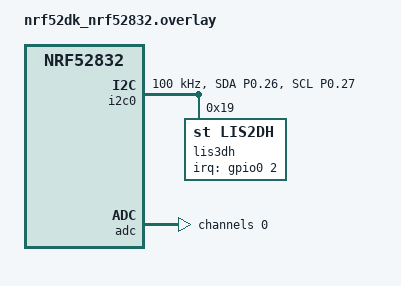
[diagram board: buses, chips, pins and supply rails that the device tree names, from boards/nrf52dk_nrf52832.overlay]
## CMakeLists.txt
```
# SPDX-License-Identifier: Apache-2.0

cmake_minimum_required(VERSION 3.20.0)
find_package(Zephyr REQUIRED HINTS $ENV{ZEPHYR_BASE})
project(rydful)

target_sources(app PRIVATE src/main.c)
```

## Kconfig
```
source "Kconfig.zephyr"

menu "Beacon Configuration"

config BEACON_DIAGNOSTICS
	bool "Enable beacon diagnostics"
	default n
	help
	  Enable LIS3DH diagnostic checks on startup.
	  This will verify the accelerometer is working correctly
	  by reading WHO_AM_I register and testing data fetch.

config BEACON_CALIBRATION
	bool "Enable motion calibration mode"
	default n
	help
	  Enable calibration logging to tune motion detection thresholds.
	  When enabled, logs delta_sq, variance, and magnitude values
	  for every sample. Use this to find optimal threshold values
	  for your specific motion patterns.

	  Steps to calibrate:
	  1. Enable this option and rebuild
	  2. Place device at rest - note values (noise floor)
	  3. Simulate motion - note values (motion signature)
	  4. Set MOTION_THRESHOLD_MS2_SQ between noise and motion
	  5. Set VARIANCE_THRESHOLD between noise and motion
	  6. Disable this option for production

endmenu
```

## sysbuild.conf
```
# Disable MCUboot for direct boot
SB_CONFIG_BOOTLOADER_MCUBOOT=n
```

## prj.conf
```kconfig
# GPIO for LED feedback
CONFIG_GPIO=y

# Clock control - external 32.768 kHz crystal
CONFIG_CLOCK_CONTROL=y
CONFIG_CLOCK_CONTROL_NRF_K32SRC_XTAL=y

# Logging - use deferred mode to avoid interrupt conflicts with BLE
CONFIG_LOG=y
CONFIG_USE_SEGGER_RTT=y
CONFIG_LOG_BACKEND_RTT=y
CONFIG_LOG_MODE_DEFERRED=y
CONFIG_LOG_BUFFER_SIZE=8192
CONFIG_LOG_PROCESS_THREAD_STACK_SIZE=2048
CONFIG_LOG_PROCESS_TRIGGER_THRESHOLD=10
CONFIG_PRINTK=y
CONFIG_CONSOLE=y

# Bluetooth
CONFIG_BT=y
CONFIG_BT_PERIPHERAL=y
CONFIG_BT_DEVICE_NAME="Rydful_Beacon"
CONFIG_BT_CTLR_TX_PWR_MINUS_12=y

# Reduce BT logging verbosity
CONFIG_BT_LOG_LEVEL_WRN=y
CONFIG_BT_HCI_CORE_LOG_LEVEL_WRN=y

# I2C for direct accelerometer access
CONFIG_I2C=y

# ADC for battery voltage measurement
CONFIG_ADC=y
```

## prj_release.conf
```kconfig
# Production configuration - logging disabled for minimum power

# GPIO for accelerometer interrupt
CONFIG_GPIO=y

# Clock control - external 32.768 kHz crystal
CONFIG_CLOCK_CONTROL=y
CONFIG_CLOCK_CONTROL_NRF_K32SRC_XTAL=y

# Disable logging for production
CONFIG_LOG=n
CONFIG_PRINTK=n
CONFIG_CONSOLE=n

# Bluetooth
CONFIG_BT=y
CONFIG_BT_PERIPHERAL=y
CONFIG_BT_DEVICE_NAME="Rydful_Beacon"
CONFIG_BT_CTLR_TX_PWR_MINUS_12=y

# I2C for accelerometer
CONFIG_I2C=y

# ADC for battery voltage measurement
CONFIG_ADC=y
```

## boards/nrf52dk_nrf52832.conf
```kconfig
# Board-specific configuration for nRF52 DK with LIS3DH
# This file is automatically picked up by the build system
```

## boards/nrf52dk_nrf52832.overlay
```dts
/*
 * Device tree overlay for nRF52 DK with LIS3DH accelerometer
 *
 * Wiring:
 *   SDA -> P0.26
 *   SCL -> P0.27
 *   CS  -> VDD (I2C mode)
 *   INT1 -> P0.02 (data-ready interrupt)
 *   AIN1 -> P0.03 (battery voltage)
 *
 * Wiring:
 *   Battery positive -> P0.03
 *   Battery negative -> GND
 *
 * Note: No voltage divider needed since max voltage (3.0V) is within ADC range (3.6V with 1/6 gain).
 */

#include <zephyr/dt-bindings/adc/nrf-saadc.h>

&pinctrl {
    i2c0_default_alt: i2c0_default_alt {
        group1 {
            psels = <NRF_PSEL(TWIM_SDA, 0, 26)>,
                    <NRF_PSEL(TWIM_SCL, 0, 27)>;
        };
    };

    i2c0_sleep_alt: i2c0_sleep_alt {
        group1 {
            psels = <NRF_PSEL(TWIM_SDA, 0, 26)>,
                    <NRF_PSEL(TWIM_SCL, 0, 27)>;
            low-power-enable;
        };
    };
};

&i2c0 {
    compatible = "nordic,nrf-twim";
    status = "okay";
    pinctrl-0 = <&i2c0_default_alt>;
    pinctrl-1 = <&i2c0_sleep_alt>;
    pinctrl-names = "default", "sleep";
    clock-frequency = <I2C_BITRATE_STANDARD>;

    lis3dh: lis3dh@19 {
        /* Use "st,lis2dh" not "st,lis3dh" - Zephyr's LIS2DH driver handles
         * both LIS2DH and LIS3DH chips but requires the lis2dh compatible. */
        compatible = "st,lis2dh";
        reg = <0x19>;
        /* INT1 for direct GPIO interrupt (bypasses broken Zephyr trigger API) */
        irq-gpios = <&gpio0 2 GPIO_ACTIVE_HIGH>;
        status = "okay";
    };
};

/* Enable GPIOTE for GPIO interrupts */
&gpiote {
    status = "okay";
};

/* Disable FICR to prevent conflicts with bootloader/softdevice */
&ficr {
    status = "disabled";
};

/*
 * ADC for battery voltage measurement
 *
 * Using AIN1 (P0.03) to measure 2x AA alkaline battery voltage directly.
 * No voltage divider needed since max voltage (3.0V) is within ADC range (3.6V with 1/6 gain).
 *
 * Wiring: Connect battery positive to P0.03
 */
&adc {
    status = "okay";
    #address-cells = <1>;
    #size-cells = <0>;

    channel@0 {
        reg = <0>;
        zephyr,gain = "ADC_GAIN_1_6";
        zephyr,reference = "ADC_REF_INTERNAL";
        zephyr,acquisition-time = <ADC_ACQ_TIME_DEFAULT>;
        zephyr,input-positive = <NRF_SAADC_AIN1>;  /* P0.03 */
        zephyr,resolution = <12>;
    };
};
```

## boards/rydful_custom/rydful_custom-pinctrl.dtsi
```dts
/*
 * SPDX-License-Identifier: Apache-2.0
 * Pin control for Rydful Custom PCB
 */

&pinctrl {
	/* I2C0 pins for LIS3DHTR */
	i2c0_default: i2c0_default {
		group1 {
			psels = <NRF_PSEL(TWIM_SDA, 0, 26)>,
			        <NRF_PSEL(TWIM_SCL, 0, 27)>;
		};
	};

	i2c0_sleep: i2c0_sleep {
		group1 {
			psels = <NRF_PSEL(TWIM_SDA, 0, 26)>,
			        <NRF_PSEL(TWIM_SCL, 0, 27)>;
			low-power-enable;
		};
	};
};
```

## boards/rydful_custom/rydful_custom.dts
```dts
/*
 * SPDX-License-Identifier: Apache-2.0
 *
 * Rydful Custom PCB - nRF52832 BLE Beacon (minimal test config)
 */

/dts-v1/;
#include <nordic/nrf52832_qfaa.dtsi>
#include <zephyr/dt-bindings/gpio/gpio.h>
#include <zephyr/dt-bindings/i2c/i2c.h>
#include <zephyr/dt-bindings/adc/nrf-saadc.h>
#include "rydful_custom-pinctrl.dtsi"

/ {
	model = "Rydful Custom Board";
	compatible = "rydful,custom";

	chosen {
		zephyr,sram = &sram0;
		zephyr,flash = &flash0;
	};
};

&flash0 {
	partitions {
		compatible = "fixed-partitions";
		#address-cells = <1>;
		#size-cells = <1>;

		/* Single application partition - no bootloader */
		storage_partition: partition@0 {
			label = "storage";
			reg = <0x00000000 0x00080000>;
		};
	};
};

&clock {
	status = "okay";
};

&gpiote {
	status = "okay";
};

&gpio0 {
	status = "okay";
	/* Use low-power SENSE for edge detection instead of GPIOTE (saves ~450µA) */
	sense-edge-mask = <0xffffffff>;
};

&i2c0 {
	compatible = "nordic,nrf-twim";
	status = "okay";
	pinctrl-0 = <&i2c0_default>;
	pinctrl-1 = <&i2c0_sleep>;
	pinctrl-names = "default", "sleep";
	clock-frequency = <I2C_BITRATE_STANDARD>;

	lis3dh: lis3dh@19 {
		compatible = "st,lis2dh";
		reg = <0x19>;
		irq-gpios = <&gpio0 2 GPIO_ACTIVE_HIGH>;
		status = "okay";
	};
};

/* UART disabled */
&uart0 {
	status = "disabled";
};

/* ADC for battery voltage measurement */
&adc {
	status = "okay";
	#address-cells = <1>;
	#size-cells = <0>;

	channel@0 {
		reg = <0>;
		zephyr,gain = "ADC_GAIN_1_6";
		zephyr,reference = "ADC_REF_INTERNAL";
		zephyr,acquisition-time = <ADC_ACQ_TIME_DEFAULT>;
		zephyr,input-positive = <NRF_SAADC_AIN1>;  /* P0.03 */
		zephyr,resolution = <12>;
	};
};
```

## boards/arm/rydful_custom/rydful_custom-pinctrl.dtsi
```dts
/*
 * SPDX-License-Identifier: Apache-2.0
 *
 * Pin control configuration for Rydful Custom PCB
 *
 * Adjust these pins to match your PCB layout!
 */

&pinctrl {
	/* I2C0 pins for LIS3DHTR */
	i2c0_default: i2c0_default {
		group1 {
			psels = <NRF_PSEL(TWIM_SDA, 0, 26)>,
			        <NRF_PSEL(TWIM_SCL, 0, 27)>;
		};
	};

	i2c0_sleep: i2c0_sleep {
		group1 {
			psels = <NRF_PSEL(TWIM_SDA, 0, 26)>,
			        <NRF_PSEL(TWIM_SCL, 0, 27)>;
			low-power-enable;
		};
	};

	/* UART0 pins (optional - for debug output) */
	uart0_default: uart0_default {
		group1 {
			psels = <NRF_PSEL(UART_TX, 0, 6)>;
		};
		group2 {
			psels = <NRF_PSEL(UART_RX, 0, 8)>;
			bias-pull-up;
		};
	};

	uart0_sleep: uart0_sleep {
		group1 {
			psels = <NRF_PSEL(UART_TX, 0, 6)>,
			        <NRF_PSEL(UART_RX, 0, 8)>;
			low-power-enable;
		};
	};
};
```

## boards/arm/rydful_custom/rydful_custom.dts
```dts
/*
 * SPDX-License-Identifier: Apache-2.0
 *
 * Rydful Custom PCB - nRF52832 with LIS3DHTR accelerometer
 */

/dts-v1/;
#include <nordic/nrf52832_qfaa.dtsi>
#include "rydful_custom-pinctrl.dtsi"

/ {
	model = "Rydful Custom Board";
	compatible = "rydful,custom";

	chosen {
		zephyr,console = &uart0;
		zephyr,shell-uart = &uart0;
		zephyr,uart-mcumgr = &uart0;
		zephyr,bt-mon-uart = &uart0;
		zephyr,bt-c2h-uart = &uart0;
		zephyr,sram = &sram0;
		zephyr,flash = &flash0;
		zephyr,code-partition = &slot0_partition;
	};

	aliases {
		watchdog0 = &wdt0;
	};
};

&flash0 {
	partitions {
		compatible = "fixed-partitions";
		#address-cells = <1>;
		#size-cells = <1>;

		/* Bootloader (optional, 48KB) */
		boot_partition: partition@0 {
			label = "mcuboot";
			reg = <0x00000000 0x0000C000>;
		};

		/* Application slot 0 (200KB) */
		slot0_partition: partition@c000 {
			label = "image-0";
			reg = <0x0000C000 0x00032000>;
		};

		/* Application slot 1 for OTA (200KB) */
		slot1_partition: partition@3e000 {
			label = "image-1";
			reg = <0x0003E000 0x00032000>;
		};

		/* Scratch partition for swap (16KB) */
		scratch_partition: partition@70000 {
			label = "image-scratch";
			reg = <0x00070000 0x00004000>;
		};

		/* Storage partition (56KB) */
		storage_partition: partition@74000 {
			label = "storage";
			reg = <0x00074000 0x0000C000>;
		};
	};
};

&adc {
	status = "okay";
};

&gpiote {
	status = "okay";
};

&gpio0 {
	status = "okay";
};

/* I2C0 for LIS3DHTR accelerometer */
&i2c0 {
	compatible = "nordic,nrf-twi";
	status = "okay";
	pinctrl-0 = <&i2c0_default>;
	pinctrl-1 = <&i2c0_sleep>;
	pinctrl-names = "default", "sleep";

	lis3dh: lis3dh@19 {
		compatible = "st,lis2dh";
		reg = <0x19>;
		irq-gpios = <&gpio0 2 GPIO_ACTIVE_HIGH>;
		status = "okay";
	};
};

/* UART0 for debugging (directly on pins, no USB) */
&uart0 {
	compatible = "nordic,nrf-uarte";
	status = "okay";
	current-speed = <115200>;
	pinctrl-0 = <&uart0_default>;
	pinctrl-1 = <&uart0_sleep>;
	pinctrl-names = "default", "sleep";
};
```

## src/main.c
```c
/*
 * BLE Beacon - Hardware Interrupt-Driven Motion Detection
 *
 * Uses LIS3DH accelerometer's internal motion detection engine to wake the MCU
 * only when actual motion occurs, achieving ultra-low power consumption (~2.5 µA sleep).
 *
 * The LIS3DH operates at 1Hz in low-power mode with high-pass filtering to remove
 * gravity, triggering an interrupt only on acceleration *changes* above threshold.
 */

#include <zephyr/kernel.h>
#include <zephyr/bluetooth/bluetooth.h>
#include <zephyr/device.h>
#include <zephyr/drivers/gpio.h>
#include <zephyr/drivers/i2c.h>
#include <zephyr/drivers/adc.h>
#include <zephyr/logging/log.h>
#include <hal/nrf_saadc.h>

LOG_MODULE_REGISTER(beacon, LOG_LEVEL_INF);

/*
 * Configuration Parameters
 */

/* Motion detection threshold in mg */
#define HW_MOTION_THRESHOLD_MG    32

/* Number of samples above threshold before triggering */
#define HW_MOTION_DURATION        2

/* Seconds of no motion before stopping advertising (3 full duty cycles) */
#define NO_MOTION_TIMEOUT_SEC     36

/* Advertising duty cycle: advertise for 5s, pause for 7s */
#define ADV_DUTY_ON_SEC           5
#define ADV_DUTY_OFF_SEC          7

/* Battery monitoring configuration */
#define BATTERY_LOW_THRESHOLD_MV  2000  /* 0% battery level */
#define BATTERY_FULL_MV           3000  /* 100% battery level */
#define BATTERY_UPDATE_INTERVAL_SEC 300 /* Update every 5 minutes */

/* ADC configuration for battery voltage measurement */
#define ADC_NODE                  DT_NODELABEL(adc)
#define ADC_CHANNEL_ID            0
#define ADC_RESOLUTION_BITS       12
#define ADC_GAIN                  ADC_GAIN_1_6
#define ADC_REFERENCE             ADC_REF_INTERNAL
#define ADC_REF_MV                600  /* Internal reference is 0.6V */
#define ADC_RESOLUTION            ((1 << ADC_RESOLUTION_BITS) - 1)  /* 4095 for 12-bit */

/*
 * LIS2DH/LIS3DH Register Definitions
 * (Using direct I2C access for reliable interrupt configuration)
 */

/* Control registers */
#define LIS2DH_REG_CTRL_REG1      0x20
#define LIS2DH_REG_CTRL_REG2      0x21
#define LIS2DH_REG_CTRL_REG3      0x22
#define LIS2DH_REG_CTRL_REG4      0x23
#define LIS2DH_REG_CTRL_REG5      0x24
#define LIS2DH_REG_CTRL_REG6      0x25
#define LIS2DH_REG_REFERENCE      0x26

/* Interrupt configuration registers */
#define LIS2DH_REG_INT1_CFG       0x30
#define LIS2DH_REG_INT1_SRC       0x31
#define LIS2DH_REG_INT1_THS       0x32
#define LIS2DH_REG_INT1_DURATION  0x33

/* Identification */
#define LIS2DH_REG_WHO_AM_I       0x0F
#define LIS2DH_WHO_AM_I_VALUE     0x33

/* CTRL_REG1 bits */
#define LIS2DH_ODR_1HZ            (0x01 << 4)  /* 1Hz output data rate */
#define LIS2DH_LPEN               BIT(3)       /* Low-power mode enable */
#define LIS2DH_XYZ_EN             0x07         /* Enable X, Y, Z axes */

/* CTRL_REG2 bits */
#define LIS2DH_HP_IA1             BIT(0)       /* HP filter for interrupt 1 */
#define LIS2DH_HPCF_LOWEST        (0x03 << 4)  /* Lowest HP cutoff frequency */

/* CTRL_REG3 bits */
#define LIS2DH_I1_AOI1            BIT(6)       /* AOI1 interrupt on INT1 */

/* INT1_CFG bits - motion detection on any axis */
#define LIS2DH_INT1_XHIE          BIT(1)       /* X high event enable */
#define LIS2DH_INT1_YHIE          BIT(3)       /* Y high event enable */
#define LIS2DH_INT1_ZHIE          BIT(5)       /* Z high event enable */

/*
 * Device handles
 */

/* I2C device for direct register access */
static const struct device *i2c_dev;
#define LIS3DH_I2C_ADDR           0x19

/* GPIO for INT1 interrupt - P0.02 */
static const struct gpio_dt_spec int1_gpio = {
	.port = DEVICE_DT_GET(DT_NODELABEL(gpio0)),
	.pin = 2,
	.dt_flags = GPIO_ACTIVE_HIGH
};

/* Semaphore for interrupt signaling */
K_SEM_DEFINE(motion_sem, 0, 1);

/* GPIO callback data */
static struct gpio_callback int1_cb_data;

/*
 * Battery Monitoring
 */

/* ADC device */
static const struct device *adc_dev;
static bool adc_available = false;

/* Battery state */
static struct {
	uint16_t voltage_mv;
	uint8_t percentage;
	bool is_low;
	int64_t last_update_time;
} battery = {
	.voltage_mv = 3000,
	.percentage = 100,
	.is_low = false,
	.last_update_time = 0
};

/*
 * BLE Advertising Configuration
 */

/* Manufacturer data: [Company ID (2 bytes), Battery %, Low battery flag, Voltage (2 bytes LE)] */
static uint8_t mfg_data[] = {
	0xFF, 0xFF,  /* Company ID (0xFFFF = test/internal use) */
	100,         /* Battery percentage (0-100) */
	0x00,        /* Low battery flag (0x00 = OK, 0x01 = LOW) */
	0xB8, 0x0B   /* Voltage in mV, little-endian (0x0BB8 = 3000 mV) */
};

static const struct bt_data ad[] = {
	BT_DATA_BYTES(BT_DATA_FLAGS, (BT_LE_AD_GENERAL | BT_LE_AD_NO_BREDR)),
	BT_DATA_BYTES(BT_DATA_UUID16_ALL, 0xAA, 0xFE),
	BT_DATA(BT_DATA_MANUFACTURER_DATA, mfg_data, sizeof(mfg_data)),
};

static const struct bt_data sd[] = {
	BT_DATA(BT_DATA_NAME_COMPLETE, CONFIG_BT_DEVICE_NAME,
		sizeof(CONFIG_BT_DEVICE_NAME) - 1),
};

/* Connectable, scannable advertising for Android CDM compatibility */
static struct bt_le_adv_param adv_params = BT_LE_ADV_PARAM_INIT(
	BT_LE_ADV_OPT_CONN | BT_LE_ADV_OPT_SCANNABLE,
	0x0190,  /* 250ms min (400 * 0.625ms) */
	0x0280,  /* 400ms max (640 * 0.625ms) */
	NULL
);

/* Application state */
static struct {
	bool is_advertising;
	bool is_active;          /* true when in active mode (motion detected) */
	int64_t last_motion_time;
	int64_t duty_cycle_start; /* timestamp of current duty cycle phase start */
	bool duty_on;            /* true = advertising phase, false = pause phase */
} app_state;

/*
 * I2C Helper Functions
 */

static int lis3dh_read_reg(uint8_t reg, uint8_t *val)
{
	return i2c_write_read(i2c_dev, LIS3DH_I2C_ADDR, &reg, 1, val, 1);
}

static int lis3dh_write_reg(uint8_t reg, uint8_t val)
{
	uint8_t buf[2] = {reg, val};
	return i2c_write(i2c_dev, buf, 2, LIS3DH_I2C_ADDR);
}

/*
 * Battery Monitoring Functions
 */

/**
 * Initialize ADC for battery voltage measurement
 */
static int init_battery_adc(void)
{
	int err;

	adc_dev = DEVICE_DT_GET(ADC_NODE);
	if (!device_is_ready(adc_dev)) {
		LOG_ERR("ADC device not ready");
		return -ENODEV;
	}

	/* Configure ADC channel */
	struct adc_channel_cfg channel_cfg = {
		.gain = ADC_GAIN,
		.reference = ADC_REFERENCE,
		.acquisition_time = ADC_ACQ_TIME(ADC_ACQ_TIME_MICROSECONDS, 40),
		.channel_id = ADC_CHANNEL_ID,
		.input_positive = NRF_SAADC_INPUT_AIN1,  /* P0.03 */
		.input_negative = NRF_SAADC_INPUT_DISABLED,  /* Internal GND for single-ended */
	};

	err = adc_channel_setup(adc_dev, &channel_cfg);
	if (err) {
		LOG_ERR("ADC channel setup failed: %d", err);
		return err;
	}

	adc_available = true;
	LOG_INF("Battery ADC initialized (AIN1/P0.03, gain=1/6, ref=0.6V)");
	return 0;
}

/**
 * Read battery voltage using direct HAL access (bypasses Zephyr driver)
 * Returns voltage in millivolts (mV)
 */
static uint16_t read_battery_voltage_hal(void)
{
	static volatile int16_t hal_buffer;

	/* Disable SAADC while configuring */
	nrf_saadc_disable(NRF_SAADC);

	/* Configure channel 0: AIN1, gain 1/6, ref internal, single-ended */
	nrf_saadc_channel_config_t ch_cfg = {
		.resistor_p = NRF_SAADC_RESISTOR_DISABLED,
		.resistor_n = NRF_SAADC_RESISTOR_DISABLED,
		.gain       = NRF_SAADC_GAIN1_6,
		.reference  = NRF_SAADC_REFERENCE_INTERNAL,
		.acq_time   = NRF_SAADC_ACQTIME_40US,
		.mode       = NRF_SAADC_MODE_SINGLE_ENDED,
		.burst      = NRF_SAADC_BURST_DISABLED,
	};
	nrf_saadc_channel_init(NRF_SAADC, 0, &ch_cfg);
	nrf_saadc_channel_input_set(NRF_SAADC, 0, NRF_SAADC_INPUT_AIN1, NRF_SAADC_INPUT_DISABLED);

	/* Set resolution to 12-bit */
	nrf_saadc_resolution_set(NRF_SAADC, NRF_SAADC_RESOLUTION_12BIT);

	/* Configure result buffer */
	nrf_saadc_buffer_init(NRF_SAADC, (nrf_saadc_value_t *)&hal_buffer, 1);

	/* Enable and start */
	nrf_saadc_enable(NRF_SAADC);

	/* Clear events */
	nrf_saadc_event_clear(NRF_SAADC, NRF_SAADC_EVENT_STARTED);
	nrf_saadc_event_clear(NRF_SAADC, NRF_SAADC_EVENT_END);

	/* Start and wait */
	nrf_saadc_task_trigger(NRF_SAADC, NRF_SAADC_TASK_START);
	while (!nrf_saadc_event_check(NRF_SAADC, NRF_SAADC_EVENT_STARTED)) {}

	/* Trigger sample and wait for conversion */
	nrf_saadc_task_trigger(NRF_SAADC, NRF_SAADC_TASK_SAMPLE);
	while (!nrf_saadc_event_check(NRF_SAADC, NRF_SAADC_EVENT_END)) {}

	/* Stop SAADC */
	nrf_saadc_task_trigger(NRF_SAADC, NRF_SAADC_TASK_STOP);
	nrf_saadc_disable(NRF_SAADC);

	/* Convert to millivolts: (raw * 600mV * 6) / 4096 */
	int32_t voltage_mv = ((int32_t)hal_buffer * 600 * 6) / 4096;

	LOG_INF("[HAL] Raw ADC: %d, Voltage: %d mV", hal_buffer, voltage_mv);

	return (uint16_t)(voltage_mv > 0 ? voltage_mv : 0);
}

/**
 * Read battery voltage from ADC
 * Returns voltage in millivolts (mV)
 */
static uint16_t read_battery_voltage(void)
{
	/* Use direct HAL access for reliable single-ended measurement */
	return read_battery_voltage_hal();
}

/**
 * Convert battery voltage to percentage (0-100%)
 * Uses linear interpolation between LOW and FULL thresholds
 */
static uint8_t voltage_to_percentage(uint16_t voltage_mv)
{
	if (voltage_mv <= BATTERY_LOW_THRESHOLD_MV) {
		return 0;
	}
	if (voltage_mv >= BATTERY_FULL_MV) {
		return 100;
	}

	uint32_t range = BATTERY_FULL_MV - BATTERY_LOW_THRESHOLD_MV;
	uint32_t offset = voltage_mv - BATTERY_LOW_THRESHOLD_MV;
	return (uint8_t)((offset * 100) / range);
}

/**
 * Update battery status and BLE manufacturer data
 */
static void update_battery_status(void)
{
	battery.voltage_mv = read_battery_voltage();
	battery.percentage = voltage_to_percentage(battery.voltage_mv);
	battery.is_low = (battery.voltage_mv <= BATTERY_LOW_THRESHOLD_MV);
	battery.last_update_time = k_uptime_get();

	/* Update manufacturer data */
	mfg_data[2] = battery.percentage;
	mfg_data[3] = battery.is_low ? 0x01 : 0x00;
	/* Voltage in little-endian (low byte first) */
	mfg_data[4] = (uint8_t)(battery.voltage_mv & 0xFF);
	mfg_data[5] = (uint8_t)((battery.voltage_mv >> 8) & 0xFF);

	LOG_INF("[BATT] Voltage: %d mV, Percentage: %d%% %s",
		battery.voltage_mv, battery.percentage,
		battery.is_low ? "(LOW!)" : "(OK)");

	/* Update advertising data if currently advertising */
	if (app_state.is_advertising) {
		int err = bt_le_adv_update_data(ad, ARRAY_SIZE(ad), sd, ARRAY_SIZE(sd));
		if (err) {
			LOG_ERR("Failed to update advertising data: %d", err);
		}
	}
}

/*
 * GPIO Interrupt Callback
 *
 * Called when LIS3DH INT1 pin goes high (motion detected).
 * Wakes main thread from sleep via semaphore.
 */
static void int1_callback(const struct device *dev, struct gpio_callback *cb,
			  uint32_t pins)
{
	ARG_UNUSED(cb);
	ARG_UNUSED(pins);

	/* Disable interrupt to prevent re-triggering while pin is high */
	gpio_pin_interrupt_configure(dev, int1_gpio.pin, GPIO_INT_DISABLE);

	k_sem_give(&motion_sem);
}

/*
 * Configure LIS3DH for Hardware Motion Detection
 *
 * Sets up the accelerometer's internal motion detection engine:
 * - 1Hz ODR in low-power mode (~2µA)
 * - High-pass filter removes gravity, detects only acceleration changes
 * - Threshold interrupt on any axis exceeding configured mg value
 */
static int configure_hardware_motion(void)
{
	int err;
	uint8_t val;

	/* Verify WHO_AM_I */
	err = lis3dh_read_reg(LIS2DH_REG_WHO_AM_I, &val);
	if (err) {
		LOG_ERR("Failed to read WHO_AM_I: %d", err);
		return err;
	}
	if (val != LIS2DH_WHO_AM_I_VALUE) {
		LOG_ERR("Unexpected WHO_AM_I: 0x%02X (expected 0x%02X)",
			val, LIS2DH_WHO_AM_I_VALUE);
		return -ENODEV;
	}
	LOG_INF("LIS3DH detected (WHO_AM_I: 0x%02X)", val);

	/*
	 * CTRL_REG1: 1Hz ODR, low-power mode, all axes enabled
	 * - Lowest power consumption while still detecting motion
	 * - ~1 second wake latency (acceptable for presence detection)
	 */
	err = lis3dh_write_reg(LIS2DH_REG_CTRL_REG1,
			       LIS2DH_ODR_1HZ | LIS2DH_LPEN | LIS2DH_XYZ_EN);
	if (err) {
		LOG_ERR("Failed to configure CTRL_REG1: %d", err);
		return err;
	}

	/*
	 * CTRL_REG2: High-pass filter for interrupt 1
	 * - Removes DC gravity component
	 * - Only acceleration CHANGES trigger the interrupt
	 * - Lowest cutoff frequency for best motion detection
	 */
	err = lis3dh_write_reg(LIS2DH_REG_CTRL_REG2,
			       LIS2DH_HPCF_LOWEST | LIS2DH_HP_IA1);
	if (err) {
		LOG_ERR("Failed to configure CTRL_REG2: %d", err);
		return err;
	}

	/*
	 * CTRL_REG3: Route AOI1 (motion) interrupt to INT1 pin
	 */
	err = lis3dh_write_reg(LIS2DH_REG_CTRL_REG3, LIS2DH_I1_AOI1);
	if (err) {
		LOG_ERR("Failed to configure CTRL_REG3: %d", err);
		return err;
	}

	/*
	 * CTRL_REG4: Default (2g range, normal resolution)
	 * - 2g range provides 16mg/LSB for threshold calculation
	 */
	err = lis3dh_write_reg(LIS2DH_REG_CTRL_REG4, 0x00);
	if (err) {
		LOG_ERR("Failed to configure CTRL_REG4: %d", err);
		return err;
	}

	/*
	 * CTRL_REG5: Latch interrupt (INT1 stays high until INT1_SRC is read)
	 */
	err = lis3dh_write_reg(LIS2DH_REG_CTRL_REG5, BIT(3));  /* LIR_INT1 */
	if (err) {
		LOG_ERR("Failed to configure CTRL_REG5: %d", err);
		return err;
	}

	/*
	 * INT1_THS: Motion threshold
	 * - At 2g range: 1 LSB = 16mg
	 * - 32mg threshold = 2 LSBs
	 */
	uint8_t threshold_lsb = HW_MOTION_THRESHOLD_MG / 16;
	if (threshold_lsb < 1) {
		threshold_lsb = 1;
	}
	err = lis3dh_write_reg(LIS2DH_REG_INT1_THS, threshold_lsb);
	if (err) {
		LOG_ERR("Failed to configure INT1_THS: %d", err);
		return err;
	}

	/*
	 * INT1_DURATION: Samples above threshold before interrupt
	 * - 1 = immediate trigger (single sample above threshold)
	 */
	err = lis3dh_write_reg(LIS2DH_REG_INT1_DURATION, HW_MOTION_DURATION);
	if (err) {
		LOG_ERR("Failed to configure INT1_DURATION: %d", err);
		return err;
	}

	/*
	 * Read REFERENCE register to reset high-pass filter
	 * - Sets current position as "zero" reference
	 */
	err = lis3dh_read_reg(LIS2DH_REG_REFERENCE, &val);
	if (err) {
		LOG_ERR("Failed to read REFERENCE: %d", err);
		return err;
	}

	/*
	 * INT1_CFG: Enable high-event interrupt on all axes (OR combination)
	 * - Any axis exceeding threshold triggers interrupt
	 */
	err = lis3dh_write_reg(LIS2DH_REG_INT1_CFG,
			       LIS2DH_INT1_XHIE | LIS2DH_INT1_YHIE | LIS2DH_INT1_ZHIE);
	if (err) {
		LOG_ERR("Failed to configure INT1_CFG: %d", err);
		return err;
	}

	/*
	 * Clear any pending interrupts by reading INT1_SRC
	 */
	lis3dh_read_reg(LIS2DH_REG_INT1_SRC, &val);

	LOG_INF("HW motion OK: threshold=%dmg duration=%d ODR=1Hz",
		HW_MOTION_THRESHOLD_MG, HW_MOTION_DURATION);

	return 0;
}

/*
 * Clear Pending Motion Interrupt
 *
 * Reads INT1_SRC to clear the latched interrupt.
 */
static void clear_motion_interrupt(void)
{
	uint8_t val;
	lis3dh_read_reg(LIS2DH_REG_INT1_SRC, &val);
}

/*
 * Configure GPIO Interrupt for INT1 Pin
 */
static int configure_gpio_interrupt(void)
{
	int err;

	if (!gpio_is_ready_dt(&int1_gpio)) {
		LOG_ERR("INT1 GPIO not ready");
		return -ENODEV;
	}

	/* Configure as input */
	err = gpio_pin_configure_dt(&int1_gpio, GPIO_INPUT);
	if (err) {
		LOG_ERR("Failed to configure INT1 GPIO: %d", err);
		return err;
	}

	/* Setup callback */
	gpio_init_callback(&int1_cb_data, int1_callback, BIT(int1_gpio.pin));
	err = gpio_add_callback(int1_gpio.port, &int1_cb_data);
	if (err) {
		LOG_ERR("Failed to add INT1 callback: %d", err);
		return err;
	}

	/* Clear any pending LIS3DH interrupt before enabling GPIO interrupt */
	clear_motion_interrupt();
	k_msleep(10);
	clear_motion_interrupt();

	/* Enable rising edge interrupt (uses low-power SENSE via sense-edge-mask in DTS) */
	err = gpio_pin_interrupt_configure_dt(&int1_gpio, GPIO_INT_EDGE_TO_ACTIVE);
	if (err) {
		LOG_ERR("Failed to configure INT1 interrupt: %d", err);
		return err;
	}

	LOG_INF("GPIO interrupt configured on pin %d", int1_gpio.pin);
	return 0;
}

/*
 * BLE Advertising Control
 */

static int start_advertising(void)
{
	if (app_state.is_advertising) {
		return 0;
	}

	int err = bt_le_adv_start(&adv_params, ad, ARRAY_SIZE(ad), sd, ARRAY_SIZE(sd));
	if (err && err != -EALREADY) {
		LOG_ERR("Failed to start advertising: %d", err);
		return err;
	}

	app_state.is_advertising = true;
	LOG_INF(">>> BLE advertising STARTED (motion detected)");
	return 0;
}

static int stop_advertising(void)
{
	if (!app_state.is_advertising) {
		return 0;
	}

	int err = bt_le_adv_stop();
	if (err && err != -EALREADY) {
		LOG_ERR("Failed to stop advertising: %d", err);
		return err;
	}

	app_state.is_advertising = false;
	LOG_INF("<<< BLE advertising STOPPED (no motion timeout)");
	return 0;
}

/*
 * Enter active mode: start advertising and begin duty cycle
 */
static void enter_active_mode(void)
{
	app_state.is_active = true;
	app_state.duty_on = true;
	app_state.duty_cycle_start = k_uptime_get();
	start_advertising();
}

/*
 * Leave active mode: stop advertising and clear state
 */
static void leave_active_mode(void)
{
	stop_advertising();
	app_state.is_active = false;
	app_state.duty_on = false;
}

/*
 * Main Application Loop
 *
 * State machine:
 * - SLEEP: MCU sleeps indefinitely waiting for motion interrupt
 * - ACTIVE: BLE advertising with duty cycle (7s on / 14s off),
 *           check for no-motion timeout, process new motion events
 */
static void run_main_loop(void)
{
	while (1) {
		if (app_state.is_active) {
			/*
			 * ACTIVE MODE: Duty-cycled advertising
			 * Advertise for ADV_DUTY_ON_SEC, then pause for ADV_DUTY_OFF_SEC.
			 * Continue until NO_MOTION_TIMEOUT_SEC of inactivity.
			 */

			/* Wait for motion interrupt with 500ms timeout for periodic checks */
			int sem_ret = k_sem_take(&motion_sem, K_MSEC(500));
			int64_t now = k_uptime_get();

			if (sem_ret == 0) {
				/* Motion detected - reset no-motion timeout */
				app_state.last_motion_time = now;
				clear_motion_interrupt();
				LOG_DBG("Motion interrupt");
			}

			/* Re-enable GPIO interrupt */
			gpio_pin_interrupt_configure_dt(&int1_gpio, GPIO_INT_EDGE_TO_ACTIVE);

			/* Check for battery update interval (every 5 minutes) */
			int64_t battery_elapsed_sec = (now - battery.last_update_time) / 1000;
			if (battery_elapsed_sec >= BATTERY_UPDATE_INTERVAL_SEC) {
				update_battery_status();
			}

			/* Check for no-motion timeout */
			int64_t elapsed_sec = (now - app_state.last_motion_time) / 1000;
			if (elapsed_sec >= NO_MOTION_TIMEOUT_SEC) {
				leave_active_mode();
				continue;
			}

			/* Manage advertising duty cycle */
			int64_t duty_elapsed_sec = (now - app_state.duty_cycle_start) / 1000;

			if (app_state.duty_on && duty_elapsed_sec >= ADV_DUTY_ON_SEC) {
				/* ON phase expired -> switch to OFF */
				stop_advertising();
				app_state.duty_on = false;
				app_state.duty_cycle_start = now;
				LOG_INF("Duty cycle: advertising OFF for %ds", ADV_DUTY_OFF_SEC);
			} else if (!app_state.duty_on && duty_elapsed_sec >= ADV_DUTY_OFF_SEC) {
				/* OFF phase expired -> switch to ON */
				start_advertising();
				app_state.duty_on = true;
				app_state.duty_cycle_start = now;
				LOG_INF("Duty cycle: advertising ON for %ds", ADV_DUTY_ON_SEC);
			}
		} else {
			/*
			 * SLEEP MODE: Ultra-low power, waiting for motion
			 */
			LOG_INF("Entering sleep (waiting for motion)...");

			/* Clear semaphore and any pending interrupts */
			k_sem_reset(&motion_sem);
			clear_motion_interrupt();

			/* Re-enable GPIO interrupt */
			gpio_pin_interrupt_configure_dt(&int1_gpio, GPIO_INT_EDGE_TO_ACTIVE);

			/* Check if INT1 is already high (motion during setup) */
			if (gpio_pin_get_dt(&int1_gpio)) {
				LOG_INF("INT1 already high - motion pending");
				clear_motion_interrupt();
				app_state.last_motion_time = k_uptime_get();
				enter_active_mode();
				continue;
			}

			/* Wait indefinitely for motion interrupt */
			k_sem_take(&motion_sem, K_FOREVER);

			/* Motion detected - wake up and start advertising */
			LOG_INF("Motion detected - waking up!");
			app_state.last_motion_time = k_uptime_get();
			clear_motion_interrupt();
			enter_active_mode();
		}
	}
}

int main(void)
{
	int err;

	/* Brief delay for hardware stabilization */
	k_msleep(100);

	LOG_INF("BLE Beacon | %s | thresh=%dmg timeout=%ds duty=%ds/%ds",
		CONFIG_BT_DEVICE_NAME, HW_MOTION_THRESHOLD_MG, NO_MOTION_TIMEOUT_SEC,
		ADV_DUTY_ON_SEC, ADV_DUTY_OFF_SEC);

	/* Get I2C device */
	i2c_dev = DEVICE_DT_GET(DT_NODELABEL(i2c0));
	if (!device_is_ready(i2c_dev)) {
		LOG_ERR("I2C device not ready");
		return -ENODEV;
	}

	/* Configure LIS3DH for hardware motion detection */
	LOG_INF("Configuring LIS3DH...");
	err = configure_hardware_motion();
	if (err) {
		LOG_ERR("Failed to configure hardware motion detection: %d", err);
		return err;
	}

	/* Configure GPIO interrupt */
	err = configure_gpio_interrupt();
	if (err) {
		LOG_ERR("Failed to configure GPIO interrupt: %d", err);
		return err;
	}

	/* Initialize battery monitoring */
	LOG_INF("Initializing battery ADC...");
	err = init_battery_adc();
	if (err) {
		LOG_WRN("Battery ADC init failed: %d (continuing without battery monitoring)", err);
	} else {
		/* Perform initial battery reading */
		update_battery_status();
	}

	/* Initialize Bluetooth */
	LOG_INF("Initializing Bluetooth...");
	err = bt_enable(NULL);
	if (err) {
		LOG_ERR("Bluetooth init failed: %d", err);
		return err;
	}
	LOG_INF("Bluetooth ready");

	/* Initialize state */
	app_state.is_advertising = false;
	app_state.is_active = false;
	app_state.last_motion_time = 0;
	app_state.duty_cycle_start = 0;
	app_state.duty_on = false;

	LOG_INF("Ready - move device to start advertising");

	/* Run main state machine */
	run_main_loop();

	return 0;
}
```
